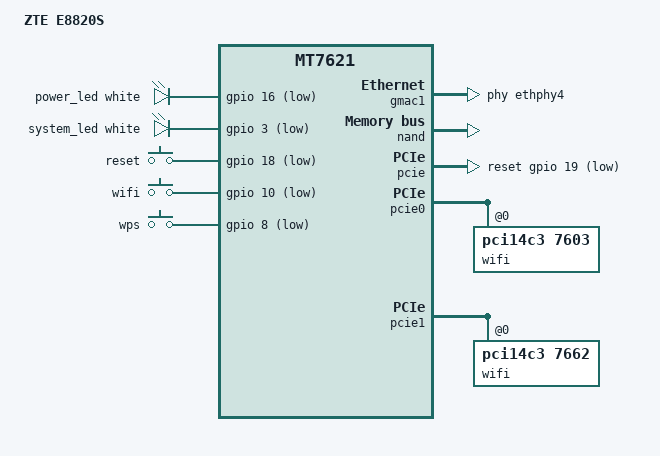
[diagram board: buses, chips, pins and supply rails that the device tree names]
// SPDX-License-Identifier: GPL-2.0-or-later OR MIT

#include "mt7621.dtsi"

#include <dt-bindings/gpio/gpio.h>
#include <dt-bindings/input/input.h>
#include <dt-bindings/leds/common.h>

/ {
	compatible = "zte,e8820s", "mediatek,mt7621-soc";
	model = "ZTE E8820S";

	aliases {
		led-boot = &power_led;
		led-failsafe = &system_led;
		led-running = &system_led;
		led-upgrade = &system_led;
		label-mac-device = &gmac0;
	};

	chosen {
		bootargs = "console=ttyS0,115200";
	};

	gpio-leds {
		compatible = "gpio-leds";

		power_led: led-power {
			function = LED_FUNCTION_POWER;
			color = <LED_COLOR_ID_WHITE>;
			gpios = <&gpio 16 GPIO_ACTIVE_LOW>;
		};

		system_led: led-system {
			function = LED_FUNCTION_STATUS;
			color = <LED_COLOR_ID_WHITE>;
			gpios = <&gpio 3 GPIO_ACTIVE_LOW>;
		};
	};

	gpio-keys {
		compatible = "gpio-keys";

		button-reset {
			label = "reset";
			gpios = <&gpio 18 GPIO_ACTIVE_LOW>;
			linux,code = <KEY_RESTART>;
		};

		button-wifi {
			label = "wifi";
			gpios = <&gpio 10 GPIO_ACTIVE_LOW>;
			linux,code = <KEY_RFKILL>;
		};

		button-wps {
			label = "wps";
			gpios = <&gpio 8 GPIO_ACTIVE_LOW>;
			linux,code = <KEY_WPS_BUTTON>;
		};
	};
};

&ethphy4 {
	/delete-property/ interrupts;
};

&gmac0 {
	nvmem-cells = <&macaddr_factory_e000 0>;
	nvmem-cell-names = "mac-address";
};

&gmac1 {
	status = "okay";
	label = "wan";
	phy-handle = <&ethphy4>;

	nvmem-cells = <&macaddr_factory_e000 1>;
	nvmem-cell-names = "mac-address";
};

&nand {
	status = "okay";

	partitions {
		compatible = "fixed-partitions";
		#address-cells = <1>;
		#size-cells = <1>;

		partition@0 {
			label = "u-boot";
			reg = <0x0 0x80000>;
			read-only;
		};

		partition@80000 {
			label = "u-boot-env";
			reg = <0x80000 0x80000>;
			read-only;
		};

		partition@100000 {
			compatible = "nvmem-cells";
			label = "Factory";
			reg = <0x100000 0x40000>;
			read-only;

			nvmem-layout {
				compatible = "fixed-layout";
				#address-cells = <1>;
				#size-cells = <1>;

				eeprom_factory_0: eeprom@0 {
					reg = <0x0 0x400>;
				};

				eeprom_factory_8000: eeprom@8000 {
					reg = <0x8000 0x200>;
				};

				macaddr_factory_4: macaddr@4 {
					reg = <0x4 0x6>;
				};

				macaddr_factory_e000: macaddr@e000 {
					compatible = "mac-base";
					reg = <0xe000 0x6>;
					#nvmem-cell-cells = <1>;
				};
			};
		};

		partition@140000 {
			label = "kernel";
			reg = <0x140000 0x400000>;
		};

		partition@540000 {
			label = "ubi";
			reg = <0x540000 0x7A00000>;
		};
	};
};

&pcie {
	reset-gpios = <&gpio 19 GPIO_ACTIVE_LOW>,
		      <&gpio 4 GPIO_ACTIVE_LOW>;
	status = "okay";
};

&pcie0 {
	wifi@0,0 {
		compatible = "pci14c3,7603";
		reg = <0x0000 0 0 0 0>;
		nvmem-cells = <&eeprom_factory_0>, <&macaddr_factory_e000 0>;
		nvmem-cell-names = "eeprom", "mac-address";
		ieee80211-freq-limit = <2400000 2500000>;

		led {
			led-active-low;
		};
	};
};

&pcie1 {
	wifi@0,0 {
		compatible = "pci14c3,7662";
		reg = <0x0000 0 0 0 0>;
		nvmem-cells = <&eeprom_factory_8000>, <&macaddr_factory_e000 1>;
		nvmem-cell-names = "eeprom", "mac-address";
		ieee80211-freq-limit = <5000000 6000000>;

		led {
			led-active-low;
			led-sources = <2>;
		};
	};
};

&switch0 {
	ports {
		port@0 {
			status = "okay";
			label = "lan1";
		};

		port@1 {
			status = "okay";
			label = "lan2";
		};

		port@2 {
			status = "okay";
			label = "lan3";
		};

		port@3 {
			status = "okay";
			label = "lan4";
		};
	};
};

&state_default {
	gpio {
		groups = "jtag", "uart2", "uart3", "wdt";
		function = "gpio";
	};
};
